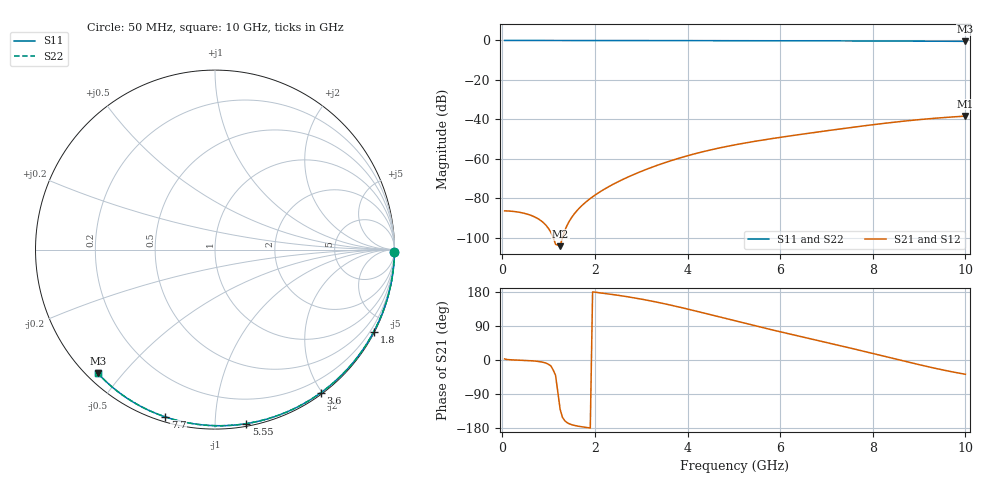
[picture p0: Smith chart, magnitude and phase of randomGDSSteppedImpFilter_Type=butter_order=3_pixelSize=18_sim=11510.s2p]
! freq	dB(S11)	phase(S11)	dB(S12)	phase(S12)
!  dB(S21)	phase(S21)	dB(S22)	phase(S22)
!S-par simulation data
#  GHz  S  DB  R 50
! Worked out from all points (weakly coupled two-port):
!   200 points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, 50 MHz to 10 GHz, reference 50 ohm
!   highest |S21| = -38.36 dB at 10 GHz (marker M1); lowest = -104.3 dB at 1.25 GHz (marker M2)
!   lowest |S11| = -0.5 dB at 10 GHz (marker M3), VSWR 38.37, Z = 1.54 - j21.5 ohm
!   |S11| at or under -10 dB: nowhere
!   |S22| runs from -0.5 to 0.0 dB; largest |S21 - S12| = 0
!   S11 on the Smith chart (normalised r, x): 50 MHz: open; 1.8 GHz: 0.04, -4.11; 3.6 GHz: 0.02, -1.99; 5.55 GHz: 0.02, -1.20; 7.7 GHz: 0.02, -0.75; 10 GHz: 0.03, -0.43
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0.05  -0.00 -0.8  -86.42 2.9  -86.42 2.9  -0.00 -0.8
0.65  -0.01 -10.0  -88.98 -2.2  -88.98 -2.2  -0.01 -10.0
1.25  -0.02 -19.1  -104.32 -130.8  -104.32 -130.8  -0.02 -19.1
1.75  -0.03 -26.6  -83.05 -176.9  -83.05 -176.9  -0.03 -26.6
1.8  -0.03 -27.3  -82.02 -177.8  -82.02 -177.8  -0.03 -27.3
1.9  -0.04 -28.8  -80.14 -179.4  -80.14 -179.4  -0.04 -28.8
2.25  -0.04 -34.0  -74.77 175.0  -74.77 175.0  -0.04 -34.0
2.55  -0.05 -38.4  -71.06 169.8  -71.06 169.8  -0.05 -38.4
2.95  -0.06 -44.2  -66.86 161.8  -66.86 161.8  -0.06 -44.2
3.4  -0.07 -50.6  -62.86 151.1  -62.86 151.1  -0.07 -50.6
3.6  -0.07 -53.4  -61.28 145.8  -61.28 145.8  -0.07 -53.4
3.95  -0.08 -58.3  -58.79 136.0  -58.79 136.0  -0.08 -58.3
4.3  -0.09 -63.1  -56.61 125.5  -56.61 125.5  -0.09 -63.1
4.65  -0.10 -67.9  -54.71 114.8  -54.71 114.8  -0.10 -67.9
5.05  -0.11 -73.2  -52.82 102.5  -52.82 102.5  -0.11 -73.2
5.55  -0.13 -79.8  -50.78 87.6  -50.78 87.6  -0.13 -79.8
6.1  -0.15 -86.8  -48.79 71.6  -48.79 71.6  -0.15 -86.8
6.7  -0.18 -94.3  -46.78 54.7  -46.78 54.7  -0.18 -94.3
7.7  -0.24 -106.5  -43.62 26.1  -43.62 26.1  -0.24 -106.5
8.35  -0.29 -114.2  -41.75 6.9  -41.75 6.9  -0.29 -114.2
9.15  -0.36 -123.6  -39.83 -16.5  -39.83 -16.5  -0.36 -123.6
10  -0.45 -133.4  -38.36 -37.7  -38.36 -37.7  -0.45 -133.4
